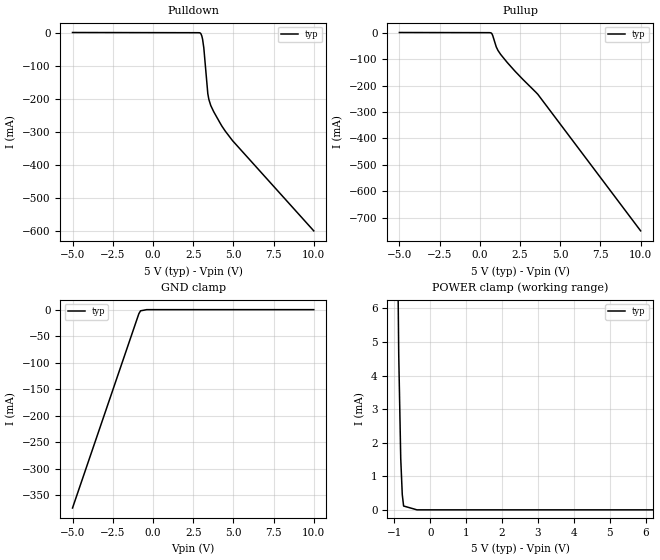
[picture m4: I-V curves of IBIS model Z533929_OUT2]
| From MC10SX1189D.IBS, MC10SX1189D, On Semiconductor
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| (C) COPYRIGHT 1993-2000
| MENTOR GRAPHICS CORPORATION
| ICX STANDARD LIBRARY, ICX PROJECT MODELING,
| ICX CUSTOM MODELING, ICX VENDOR MODEL
| ALL RIGHTS RESERVED.
| THE FOLLOWING ARE TRADEMARKS OR SERVICE MARKS OF
| MENTOR GRAPHICS CORPORATION:ICX (R), ICX STANDARD
| LIBRARY(R), ICX PROJECT MODELING(R), ICX CUSTOM
| MODELING(R), qualityIBIS(TM), MODELVIEWER(TM),
| AND MODELEDITOR(TM)
| ALL COPIES OF SOFTWARE, INCLUDING BUT NOT LIMITED TO
| ANY MODIFICATIONS, ENHANCEMENTS OR DERIVATIVE WORKS,
| MUST CONTAIN ALL MENTOR GRAPHICS CORPORATION'S
| NOTICES AND LEGENDS, INCLUDING THOSE EMBEDDED IN
| SOFTWARE AND THOSE AFFIXED TO SOFTWARE MEDIUM
| AND CONTAINER, AS RECEIVED FROM MENTOR GRAPHICS
| CORPORATION.
| Model Application Version 1.89 2/18/99.
[Model] Z533929_OUT2
Model_type Output_ECL
Vref=2.000V
Rref=50.00ohms
Cref=0.000F
Vmeas=3.700V
C_comp 2.000pF NA NA
| variable typ   min   max
[Voltage Range] 5.000V NA NA
[POWER Clamp Reference] 5.000V NA NA
[Pullup Reference] 5.000V NA NA
[Pulldown Reference] 5.000V NA NA
[GND Clamp Reference] 0.000V NA NA
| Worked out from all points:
|   POWER clamp passes 1 mA (typ) near -0.80 V on its own axis
[GND Clamp]
-5V       -373.7mA   NA         NA
-874.8mV  -7.651mA   NA         NA
-768.5mV  -2.189mA   NA         NA
-384.2mV  0A         NA         NA
10V       0A         NA         NA
[Pulldown]
-5V       676.4uA    NA         NA
2.948V    -1.083mA   NA         NA
3.041V    -9.844mA   NA         NA
3.089V    -20.13mA   NA         NA
3.164V    -45.79mA   NA         NA
3.413V    -184.2mA   NA         NA
3.478V    -201.5mA   NA         NA
3.596V    -219.9mA   NA         NA
4.165V    -271.9mA   NA         NA
4.5V      -297.4mA   NA         NA
4.949V    -326mA     NA         NA
10V       -598.6mA   NA         NA
[Pullup]
-5V       799.1uA    NA         NA
719mV     -1.56mA    NA         NA
807mV     -11.32mA   NA         NA
1.022V    -53.51mA   NA         NA
1.129V    -67.01mA   NA         NA
1.295V    -82.03mA   NA         NA
2.188V    -145.5mA   NA         NA
3.608V    -233mA     NA         NA
10V       -749.5mA   NA         NA
[POWER Clamp]
-5V       1.537A     NA         NA
-1.216V   69.48mA    NA         NA
-1.109V   35.41mA    NA         NA
-1.028V   19.98mA    NA         NA
-882mV    4.631mA    NA         NA
-826mV    1.527mA    NA         NA
-783mV    453.3uA    NA         NA
-746mV    114.1uA    NA         NA
-373mV    0A         NA         NA
10V       0A         NA         NA
[Ramp]
| variable typ min max
dV/dt_r 1.327/175.1p NA NA
dV/dt_f 1.327/445.6p NA NA
R_load = 50.0Ohms
